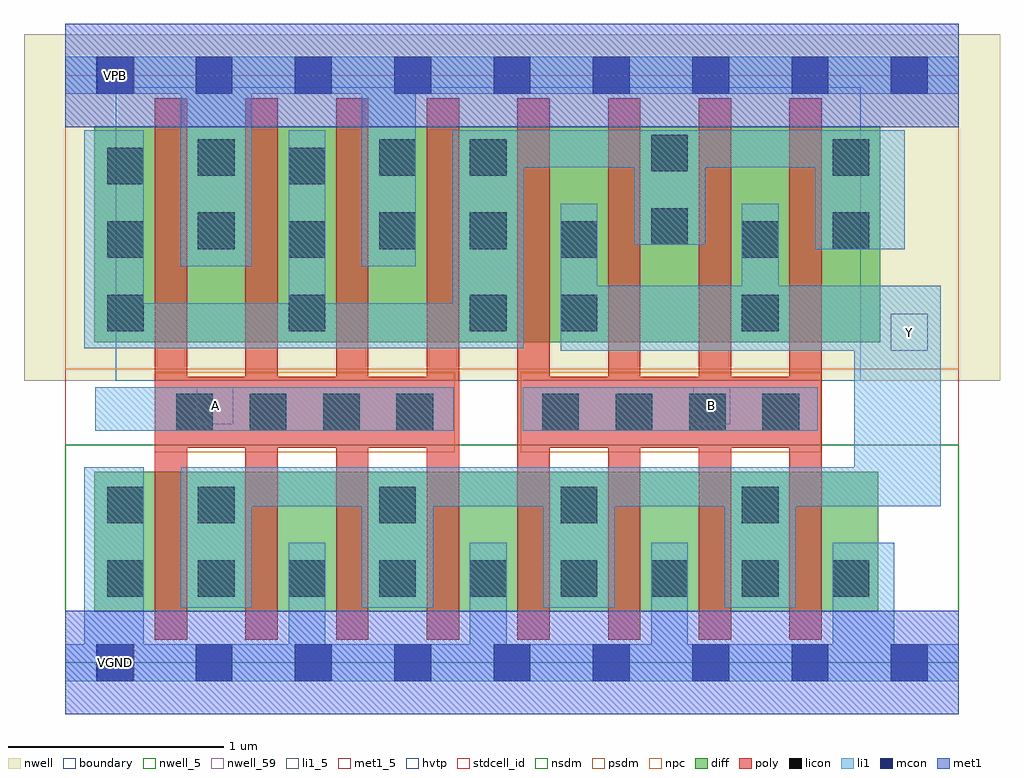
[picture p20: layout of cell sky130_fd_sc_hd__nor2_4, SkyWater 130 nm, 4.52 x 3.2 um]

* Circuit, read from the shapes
.subckt sky130_fd_sc_hd__nor2_4 A B VGND VNB VPB VPWR Y
XM1 Y A VGND VNB sky130_fd_pr__nfet_01v8 w=0.65 l=0.15 m=4
XM2 Y B VGND VNB sky130_fd_pr__nfet_01v8 w=0.65 l=0.15 m=4
XM3 VPWR A n1 VPB sky130_fd_pr__pfet_01v8_hvt w=1 l=0.15 m=4
XM4 Y B n1 VPB sky130_fd_pr__pfet_01v8_hvt w=1 l=0.15 m=4
.ends

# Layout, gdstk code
import gdstk
lib = gdstk.Library(unit=1e-6, precision=1e-09)
def R(c, l, rs):  # rectangles x0, y0, x1, y1
    for r in rs: c.add(gdstk.rectangle(r[:2], r[2:], *l))
def A(c, l, x, y, w, h, nx, ny, dx, dy):  # array of equal rectangles
    R(c, l, [(x+i*dx, y+j*dy, x+i*dx+w, y+j*dy+h) for i in range(nx) for j in range(ny)])
nwell_5 = (64, 5)
nwell = (64, 20)
nwell_59 = (64, 59)
diff = (65, 20)
poly = (66, 20)
licon = (66, 44)
li1_5 = (67, 5)
li1 = (67, 20)
mcon = (67, 44)
met1_5 = (68, 5)
met1 = (68, 20)
hvtp = (78, 44)
stdcell_id = (81, 4)
nsdm = (93, 44)
psdm = (94, 20)
npc = (95, 20)
boundary = (235, 4)

sky130_fd_sc_hd__nor2_4 = lib.new_cell('sky130_fd_sc_hd__nor2_4')
R(sky130_fd_sc_hd__nor2_4, nwell_5, [(0.15,2.635,0.32,2.805)])
R(sky130_fd_sc_hd__nor2_4, nwell, [(-0.19,1.305,4.33,2.91)])
R(sky130_fd_sc_hd__nor2_4, nwell_59, [(0.15,-0.085,0.32,0.085)])
R(sky130_fd_sc_hd__nor2_4, diff, [(0.135,0.235,3.765,0.885), (0.135,1.485,3.775,2.485)])
A(sky130_fd_sc_hd__nor2_4, poly, 0.415, 0.105, 0.15, 0.89, 8, 1, 0.42, 0)
A(sky130_fd_sc_hd__nor2_4, poly, 0.415, 1.325, 0.15, 1.29, 8, 1, 0.42, 0)
R(sky130_fd_sc_hd__nor2_4, poly, [(0.415,0.995,1.825,1.325), (2.095,0.995,3.505,1.325)])
A(sky130_fd_sc_hd__nor2_4, licon, 0.195, 0.305, 0.17, 0.17, 9, 1, 0.42, 0)
A(sky130_fd_sc_hd__nor2_4, licon, 0.615, 0.645, 0.17, 0.17, 4, 1, 0.84, 0)
A(sky130_fd_sc_hd__nor2_4, licon, 0.515, 1.075, 0.17, 0.17, 4, 1, 0.34, 0)
A(sky130_fd_sc_hd__nor2_4, licon, 2.21, 1.075, 0.17, 0.17, 4, 1, 0.34, 0)
A(sky130_fd_sc_hd__nor2_4, licon, 0.195, 1.535, 0.17, 0.17, 3, 1, 0.84, 0)
R(sky130_fd_sc_hd__nor2_4, licon, [(0.195,0.645,0.365,0.815), (2.295,1.535,2.465,1.705), (3.135,1.535,3.305,1.705), (0.195,1.875,0.365,2.045), (1.035,1.875,1.205,2.045), (2.295,1.875,2.465,2.045), (3.135,1.875,3.305,2.045), (0.615,1.915,0.785,2.085), (1.455,1.915,1.625,2.085), (1.875,1.915,2.045,2.085), (3.555,1.915,3.725,2.085), (2.715,1.935,2.885,2.105), (0.195,2.215,0.365,2.385), (1.035,2.215,1.205,2.385), (0.615,2.255,0.785,2.425), (1.455,2.255,1.625,2.425), (1.875,2.255,2.045,2.425), (3.555,2.255,3.725,2.425), (2.715,2.275,2.885,2.445)])
R(sky130_fd_sc_hd__nor2_4, li1_5, [(0.61,1.105,0.78,1.275), (2.91,1.105,3.08,1.275), (3.825,1.445,3.995,1.615)])
A(sky130_fd_sc_hd__nor2_4, li1, 1.035, 0.085, 0.17, 0.47, 3, 1, 0.84, 0)
A(sky130_fd_sc_hd__nor2_4, li1, 0.535, 0.255, 0.33, 0.47, 4, 1, 0.84, 0)
R(sky130_fd_sc_hd__nor2_4, li1, [(0,-0.085,4.14,0.085), (0.09,0.085,0.365,0.905), (3.555,0.085,3.84,0.555), (0.535,0.725,4.055,0.905), (3.655,0.905,4.055,1.445), (0.14,1.075,1.8,1.275), (2.12,1.075,3.485,1.275), (2.295,1.445,4.055,1.745), (0.09,1.455,2.125,1.665), (0.09,1.665,0.365,2.465), (1.035,1.665,1.205,2.465), (1.795,1.665,2.125,2.295), (2.295,1.745,2.465,2.125), (3.135,1.745,3.305,2.125), (0.535,1.835,0.865,2.635), (1.375,1.835,1.625,2.635), (3.475,1.915,3.89,2.295), (2.635,1.935,2.965,2.295), (1.795,2.295,3.89,2.465), (0,2.635,4.14,2.805)])
A(sky130_fd_sc_hd__nor2_4, mcon, 0.145, -0.085, 0.17, 0.17, 9, 2, 0.46, 2.72)
R(sky130_fd_sc_hd__nor2_4, met1_5, [(0.15,-0.085,0.32,0.085), (0.15,2.635,0.32,2.805)])
R(sky130_fd_sc_hd__nor2_4, met1, [(0,-0.24,4.14,0.24), (0,2.48,4.14,2.96)])
R(sky130_fd_sc_hd__nor2_4, hvtp, [(0.235,1.305,3.685,2.665)])
R(sky130_fd_sc_hd__nor2_4, stdcell_id, [(0,0,4.14,2.72)])
R(sky130_fd_sc_hd__nor2_4, nsdm, [(0,0,4.14,1.01)])
R(sky130_fd_sc_hd__nor2_4, psdm, [(0,1.36,4.14,2.72)])
R(sky130_fd_sc_hd__nor2_4, npc, [(0.415,0.975,1.805,1.345), (2.11,0.975,3.5,1.345)])
R(sky130_fd_sc_hd__nor2_4, boundary, [(0,0,4.14,2.72)])
sky130_fd_sc_hd__nor2_4.add(gdstk.Label('A', (0.695,1.19), layer=67, texttype=5))
sky130_fd_sc_hd__nor2_4.add(gdstk.Label('B', (2.995,1.19), layer=67, texttype=5))
sky130_fd_sc_hd__nor2_4.add(gdstk.Label('VGND', (0.235,0), layer=68, texttype=5))
sky130_fd_sc_hd__nor2_4.add(gdstk.Label('VNB', (0.235,0), layer=64, texttype=59))
sky130_fd_sc_hd__nor2_4.add(gdstk.Label('VPB', (0.235,2.72), layer=64, texttype=5))
sky130_fd_sc_hd__nor2_4.add(gdstk.Label('VPWR', (0.235,2.72), layer=68, texttype=5))
sky130_fd_sc_hd__nor2_4.add(gdstk.Label('Y', (3.91,1.53), layer=67, texttype=5))

lib.write_gds('sky130_fd_sc_hd__nor2_4.gds')
